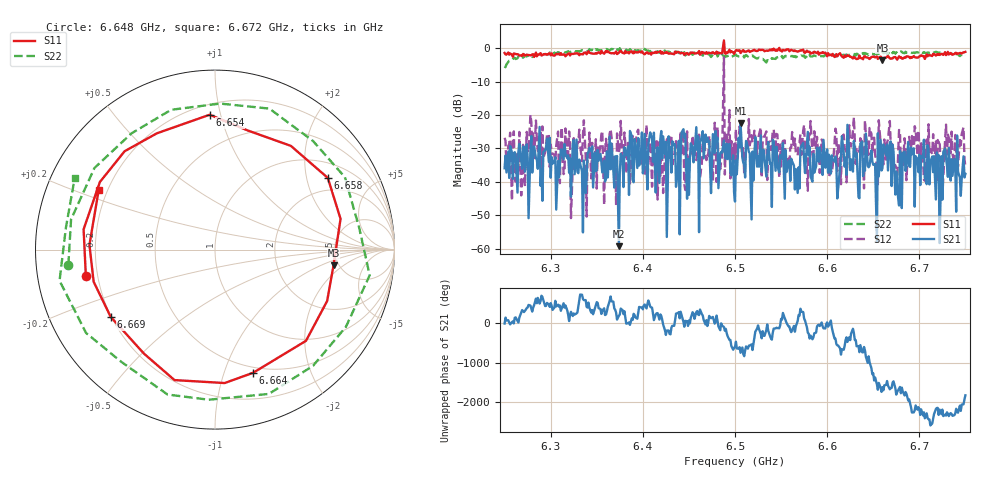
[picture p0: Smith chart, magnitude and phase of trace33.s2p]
# Hz S RI R 50
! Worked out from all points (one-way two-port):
!   401 points, 6.25 GHz to 6.75 GHz, reference 50 ohm
!   highest |S21| = -22.47 dB at 6.506 GHz (marker M1); lowest = -59.3 dB at 6.374 GHz (marker M2)
!   lowest |S11| = -3.5 dB at 6.66 GHz (marker M3), VSWR 4.99, Z = 226 - j71.6 ohm
!   |S11| at or under -10 dB: nowhere
!   |S22| runs from -5.9 to -0.1 dB; largest |S21 - S12| = 0.68
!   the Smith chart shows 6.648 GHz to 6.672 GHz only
!   S11 on the Smith chart (normalised r, x): 6.648 GHz: 0.15, -0.10; 6.654 GHz: 0.27, +0.92; 6.658 GHz: 1.50, +2.68; 6.664 GHz: 0.44, -1.26; 6.669 GHz: 0.20, -0.28; 6.672 GHz: 0.17, +0.23
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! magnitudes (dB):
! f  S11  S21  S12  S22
! 6.25 GHz  -1.5  -36.0  -26.8  -5.9
! 6.27 GHz  -1.8  -29.5  -28.9  -2.9
! 6.276 GHz  -2.1  -50.9  -31.2  -2.3
! 6.325 GHz  -1.8  -27.5  -26.9  -0.8
! 6.334 GHz  -1.8  -36.9  -33.9  -0.6
! 6.374 GHz  -1.4  -59.3  -31.2  -0.5
! 6.418 GHz  -1.1  -40.4  -28.1  -1.4
! 6.439 GHz  -1.2  -27.8  -35.3  -1.4
! 6.444 GHz  -1.5  -24.3  -24.9  -1.9
! 6.479 GHz  -1.5  -24.8  -26.8  -2.0
! 6.5 GHz  -1.1  -45.9  -34.3  -2.0
! 6.506 GHz  -1.5  -22.5  -27.2  -2.3
! 6.584 GHz  -1.4  -40.0  -31.8  -2.5
! 6.648 GHz  -2.7  -30.6  -25.6  -1.7
! 6.654 GHz  -2.5  -57.8  -35.2  -1.8
! 6.658 GHz  -2.6  -27.5  -28.4  -1.6
! 6.66 GHz  -3.5  -36.0  -33.1  -1.2
! 6.664 GHz  -2.9  -32.1  -34.1  -1.3
! 6.668 GHz  -3.1  -28.4  -21.8  -1.8
! 6.669 GHz  -3.2  -27.9  -29.3  -1.4
! 6.672 GHz  -2.8  -30.9  -35.5  -1.1
! 6.75 GHz  -1.1  -37.6  -35.4  -2.2
